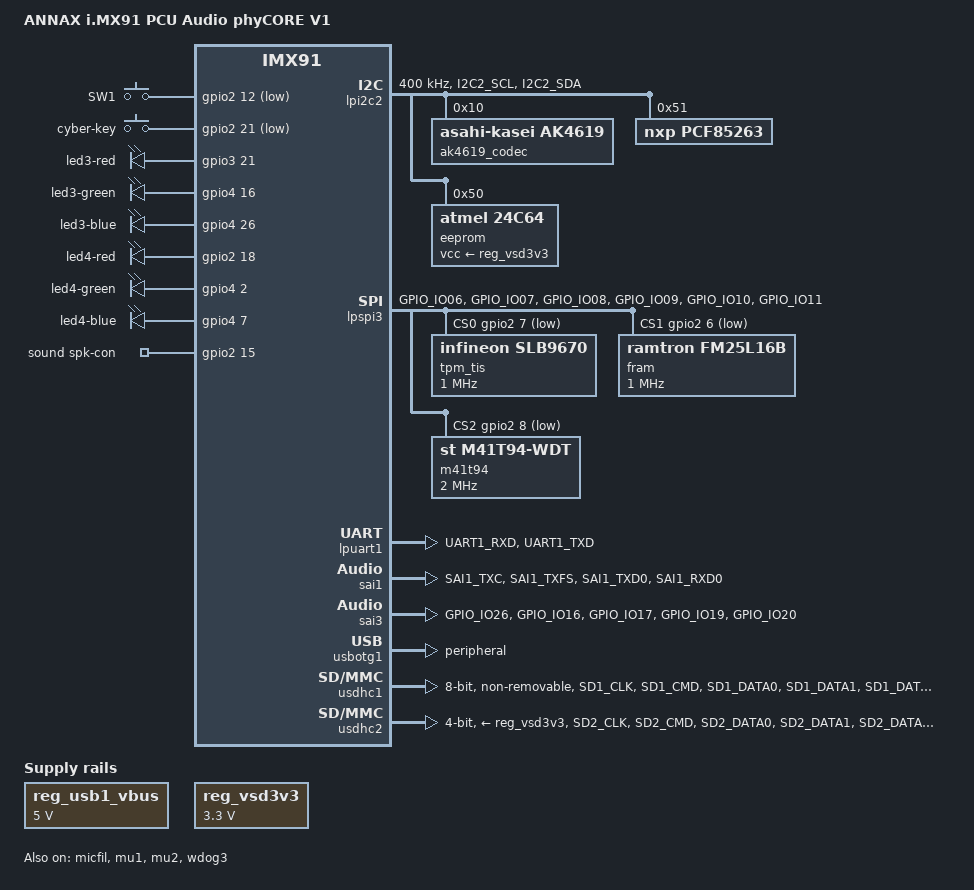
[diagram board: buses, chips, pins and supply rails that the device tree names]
// SPDX-License-Identifier: (GPL-2.0+ OR MIT)
/*
 * Copyright 2022 NXP
 */

/dts-v1/;

#include "imx91-phycore-som.dtsi"

&ele_fw2 {
	memory-region = <&ele_reserved>;
};

/ {
	model = "ANNAX i.MX91 PCU Audio phyCORE V1";
	compatible = "annax,imx91-pcu-ip-phytec", "phytec,imx91-phycore-som",
		     "fsl,imx91";

	chosen {
		stdout-path = &lpuart1;
	};

	keys {
		compatible = "gpio-keys";
		pinctrl-names = "default";
		pinctrl-0 = <&pinctrl_gpio_keys>;
		#address-cells = <1>;
		#size-cells = <0>;
		autorepeat;

		// GPIO_IO12 KEY_alarm
		key-1 {
			linux,code = <KEY_1>;
			label = "SW1";
			gpios = <&gpio2 12 GPIO_ACTIVE_LOW>;
			gpio-key,wakeup;
			debounce-interval = <20>;
		};
	};

	key-cyber {
		compatible = "gpio-keys";
		pinctrl-names = "default";
		pinctrl-0 = <&pinctrl_cyber_keys>;
		#address-cells = <1>;
		#size-cells = <0>;
		autorepeat;

		key-cyber {
			linux,code = <KEY_C>;
			label = "cyber-key";
			gpios = <&gpio2 21 GPIO_ACTIVE_LOW>;
			gpio-key,wakeup;
			debounce-interval = <20>;
		};
	};

	reg_usb1_vbus: regulator-usb1-vbus {
		compatible = "regulator-fixed";
		regulator-name = "USB1_VBUS";
		regulator-min-microvolt = <5000000>;
		regulator-max-microvolt = <5000000>;
		regulator-always-on;
	};

	reg_vsd3v3: regulator-vsd3v3 {
		compatible = "regulator-fixed";
		regulator-name = "VSD_3V3";
		regulator-min-microvolt = <3300000>;
		regulator-max-microvolt = <3300000>;
		regulator-always-on;
	};

	leds {
		compatible = "gpio-leds";
		pinctrl-names = "default";
		pinctrl-0 = <&pinctrl_gpio_leds>;

		// heartbeat {
		// 	label = "heartbeat";
		// 	gpios = <&gpio2 4 GPIO_ACTIVE_LOW>;
		// 	linux,default-trigger = "heartbeat";
		// };

		led3-red {
			label = "led3-red";
			gpios = <&gpio3 21 GPIO_ACTIVE_HIGH>;
		};

		led3-green {
			label = "led3-green";
			gpios = <&gpio4 16 GPIO_ACTIVE_HIGH>;
		};

		led3-blue {
			label = "led3-blue";
			gpios = <&gpio4 26 GPIO_ACTIVE_HIGH>;
		};

		led4-red {
			label = "led4-red";
			gpios = <&gpio2 18 GPIO_ACTIVE_HIGH>;
		};

		led4-green {
			label = "led4-green";
			gpios = <&gpio4 2 GPIO_ACTIVE_HIGH>;
		};

		led4-blue {
			label = "led4-blue";
			gpios = <&gpio4 7 GPIO_ACTIVE_HIGH>;
		};
	};

	sound {
		compatible = "fsl,imx-audio-ak4619";
		model = "ak4619-audio";
		pinctrl-names = "default";
		pinctrl-0 = <&pinctrl_amp_en>;
		audio-cpu = <&sai3>;
		audio-codec = <&ak4619_codec>;
		spk-con-gpio = <&gpio2 15 GPIO_ACTIVE_HIGH>;
		audio-routing =
			"Ext Spk", "AOUT1L",
			"Ext Spk", "AOUT1R";
	};

	sound-micfil {
		compatible = "fsl,imx-audio-card";
		model = "micfil-audio";

		pri-dai-link {
			link-name = "micfil hifi";
			format = "i2s";

			cpu {
				sound-dai = <&micfil>;
			};
		};
	};
};

/* Ethernet */
&ethphy1 {
	ti,leds-polarity = <0>;
};

&lpi2c2 {
	clock-frequency = <400000>;
	pinctrl-names = "default", "sleep";
	pinctrl-0 = <&pinctrl_lpi2c2>;
	pinctrl-1 = <&pinctrl_lpi2c2>;
	status = "okay";

	ak4619_codec: ak4619-codec@10 {
		compatible = "asahi-kasei,ak4619";
		reg = <0x10>;
		clocks = <&clk IMX91_CLK_SAI3_GATE>;
		clock-names = "mclk";
		#sound-dai-cells = <0>;
	};

	pcf85263@51 {
		compatible = "nxp,pcf85263";
		reg = <0x51>;
	};

	eeprom@50 {
		compatible = "atmel,24c64";
		reg = <0x50>;
		pagesize = <16>;
		size = <8192>;
		vcc-supply = <&reg_vsd3v3>;
	};
};

/* lpspi3 work as a lpspi master bus */
&lpspi3 {
	num-cs = <3>;
	pinctrl-names = "default";
	pinctrl-0 = <&pinctrl_lpspi3>;
	cs-gpios = <&gpio2 7 GPIO_ACTIVE_LOW>, <&gpio2 6 GPIO_ACTIVE_LOW>, <&gpio2 8 GPIO_ACTIVE_LOW>;
	status = "okay";

	tpm_tis: tpm@0 {
		compatible = "infineon,slb9670", "tcg,tpm_tis-spi";
		reg = <0>;
		spi-max-frequency = <1000000>;
	};

	fram@1 {
		compatible = "ramtron,fm25l16b", "atmel,at25";
		reg = <1>;
		spi-max-frequency = <1000000>;
		size = <2048>;
		pagesize = <2048>;
		address-width = <16>;
	};

	m41t94: rtc@2 {
		compatible = "st,m41t94-wdt";
		reg = <2>;
		spi-max-frequency = <2000000>;
		timeout-sec = <120>;
	};
};

&lpuart1 { /* console */
	pinctrl-names = "default";
	pinctrl-0 = <&pinctrl_uart1>;
	status = "okay";
};

&media_blk_ctrl {
	status = "disabled";
};

&micfil {
	#sound-dai-cells = <0>;
	pinctrl-names = "default", "sleep";
	pinctrl-0 = <&pinctrl_pdm>;
	pinctrl-1 = <&pinctrl_pdm_sleep>;
	assigned-clocks = <&clk IMX91_CLK_PDM>;
	assigned-clock-parents = <&clk IMX91_CLK_AUDIO_PLL>;
	assigned-clock-rates = <49152000>;
	status = "okay";
};

&mu1 {
	status = "okay";
};

&mu2 {
	status = "okay";
};

&sai1 {
	pinctrl-names = "default", "sleep";
	pinctrl-0 = <&pinctrl_sai1>;
	pinctrl-1 = <&pinctrl_sai1_sleep>;
	assigned-clocks = <&clk IMX91_CLK_SAI1>;
	assigned-clock-parents = <&clk IMX91_CLK_AUDIO_PLL>;
	assigned-clock-rates = <12288000>;
	fsl,sai-mclk-direction-output;
	status = "okay";
};

&sai3 {
	pinctrl-names = "default", "sleep";
	pinctrl-0 = <&pinctrl_sai3>;
	pinctrl-1 = <&pinctrl_sai3_sleep>;
	assigned-clocks = <&clk IMX91_CLK_SAI3>;
	assigned-clock-parents = <&clk IMX91_CLK_AUDIO_PLL>;
	assigned-clock-rates = <12288000>;
	fsl,sai-mclk-direction-output;
	status = "okay";
};

&usbotg1 {
	dr_mode = "peripheral";
	hnp-disable;
	srp-disable;
	adp-disable;
	disable-over-current;
	samsung,picophy-pre-emp-curr-control = <3>;
	samsung,picophy-dc-vol-level-adjust = <7>;
	status = "okay";
};

&usbphynop1 {
	vbus-supply = <&reg_usb1_vbus>;
};

&usbphynop2 {
	status = "disabled";
};

&usbotg2 {
	dr_mode = "otg";
	hnp-disable;
	srp-disable;
	adp-disable;
	usb-role-switch;
	disable-over-current;
	samsung,picophy-pre-emp-curr-control = <3>;
	samsung,picophy-dc-vol-level-adjust = <7>;
	status = "disabled";
};

&usdhc1 {
	pinctrl-names = "default";
	pinctrl-0 = <&pinctrl_usdhc1>;
	bus-width = <8>;
	max-frequency = <26000000>;
	fsl,tuning-step = <1>;
	non-removable;
	no-1-8-v;
	status = "okay";
};

&usdhc2 {
	pinctrl-names = "default", "state_100mhz", "state_200mhz";
	pinctrl-0 = <&pinctrl_usdhc2>, <&pinctrl_usdhc2_cd>;
	pinctrl-1 = <&pinctrl_usdhc2_100mhz>, <&pinctrl_usdhc2_cd>;
	pinctrl-2 = <&pinctrl_usdhc2_200mhz>, <&pinctrl_usdhc2_cd>;
	cd-gpios = <&gpio3 0 GPIO_ACTIVE_LOW>;
	no-mmc;
	no-sdio;
	bus-width = <4>;
	vmmc-supply = <&reg_vsd3v3>;
	status = "okay";
};

&wdog3 {
	status = "okay";
};

&xcvr {
	pinctrl-names = "default", "sleep";
	pinctrl-0 = <&pinctrl_spdif>;
	pinctrl-1 = <&pinctrl_spdif_sleep>;
	assigned-clocks = <&clk IMX91_CLK_SPDIF>,
			 <&clk IMX91_CLK_AUDIO_XCVR>;
	assigned-clock-parents = <&clk IMX91_CLK_AUDIO_PLL>,
			 <&clk IMX91_CLK_SYS_PLL_PFD1_DIV2>;
	assigned-clock-rates = <12288000>, <200000000>;
	status = "disabled";
};

&iomuxc {
	pinctrl_gpio_leds: gpio-leds {
		fsl,pins = <
			MX91_PAD_GPIO_IO04__GPIO2_IO4		0x31e
			MX91_PAD_SD3_CMD__GPIO3_IO21		0x31e
			MX91_PAD_ENET2_TD3__GPIO4_IO16		0x31e
			MX91_PAD_ENET2_RD2__GPIO4_IO26		0x31e
			MX91_PAD_GPIO_IO18__GPIO2_IO18		0x31e
			MX91_PAD_ENET1_TD3__GPIO4_IO2		0x31e
		>;
	};
	pinctrl_amp_en: gpio-amp {
		fsl,pins = <
			MX91_PAD_GPIO_IO15__GPIO2_IO15		0x51e
		>;
	};
	pinctrl_gpio_keys: gpio-keys {
		fsl,pins = <
			MX91_PAD_GPIO_IO12__GPIO2_IO12		0x31e
		>;
	};

	pinctrl_cyber_keys: key-cyber {
		fsl,pins = <
			MX91_PAD_GPIO_IO21__GPIO2_IO21 0x31e
		>;
	};

	pinctrl_lpspi3: lpspi3grp {
		fsl,pins = <
			MX91_PAD_GPIO_IO06__GPIO2_IO6		0x3fe
			MX91_PAD_GPIO_IO07__GPIO2_IO7		0x3fe
			MX91_PAD_GPIO_IO08__GPIO2_IO8		0x3fe
			MX91_PAD_GPIO_IO09__LPSPI3_SIN		0x1fe
			MX91_PAD_GPIO_IO10__LPSPI3_SOUT		0x1fe
			MX91_PAD_GPIO_IO11__LPSPI3_SCK		0x1fe
		>;
	};

	pinctrl_uart1: uart1grp {
		fsl,pins = <
			MX91_PAD_UART1_RXD__LPUART1_RX			0x31e
			MX91_PAD_UART1_TXD__LPUART1_TX			0x31e
		>;
	};

	pinctrl_lpi2c2: lpi2c2grp {
		fsl,pins = <
			MX91_PAD_I2C2_SCL__LPI2C2_SCL			0x40000b9e
			MX91_PAD_I2C2_SDA__LPI2C2_SDA			0x40000b9e
		>;
	};

	pinctrl_pdm: pdmgrp {
		fsl,pins = <
			MX91_PAD_PDM_CLK__PDM_CLK			0x31e
			MX91_PAD_PDM_BIT_STREAM0__PDM_BIT_STREAM0	0x31e
			MX91_PAD_PDM_BIT_STREAM1__PDM_BIT_STREAM1	0x31e
		>;
	};

	pinctrl_pdm_sleep: pdmsleepgrp {
		fsl,pins = <
			MX91_PAD_PDM_CLK__GPIO1_IO8			0x31e
			MX91_PAD_PDM_BIT_STREAM0__GPIO1_IO9		0x31e
			MX91_PAD_PDM_BIT_STREAM1__GPIO1_IO10		0x31e
		>;
	};

	pinctrl_sai1: sai1grp {
		fsl,pins = <
			MX91_PAD_SAI1_TXC__SAI1_TX_BCLK			0x31e
			MX91_PAD_SAI1_TXFS__SAI1_TX_SYNC		0x31e
			MX91_PAD_SAI1_TXD0__SAI1_TX_DATA0		0x31e
			MX91_PAD_SAI1_RXD0__SAI1_RX_DATA0		0x31e
		>;
	};

	pinctrl_sai1_sleep: sai1sleepgrp {
		fsl,pins = <
			MX91_PAD_SAI1_TXC__GPIO1_IO12                   0x51e
			MX91_PAD_SAI1_TXFS__GPIO1_IO11			0x51e
			MX91_PAD_SAI1_TXD0__GPIO1_IO13			0x51e
			MX91_PAD_SAI1_RXD0__GPIO1_IO14			0x51e
		>;
	};

	/* need to config the SION for data and cmd pad, refer to ERR052021 */
	pinctrl_usdhc1: usdhc1grp {
		fsl,pins = <
			MX91_PAD_SD1_CLK__USDHC1_CLK		0x1582
			MX91_PAD_SD1_CMD__USDHC1_CMD		0x40001382
			MX91_PAD_SD1_DATA0__USDHC1_DATA0	0x40001382
			MX91_PAD_SD1_DATA1__USDHC1_DATA1	0x40001382
			MX91_PAD_SD1_DATA2__USDHC1_DATA2	0x40001382
			MX91_PAD_SD1_DATA3__USDHC1_DATA3	0x40001382
			MX91_PAD_SD1_DATA4__USDHC1_DATA4	0x40001382
			MX91_PAD_SD1_DATA5__USDHC1_DATA5	0x40001382
			MX91_PAD_SD1_DATA6__USDHC1_DATA6	0x40001382
			MX91_PAD_SD1_DATA7__USDHC1_DATA7	0x40001382
			MX91_PAD_SD1_STROBE__USDHC1_STROBE	0x1582
		>;
	};

	pinctrl_spdif: spdifgrp {
		fsl,pins = <
			MX91_PAD_GPIO_IO22__SPDIF_IN		0x3fe
			MX91_PAD_GPIO_IO23__SPDIF_OUT		0x3fe
		>;
	};

	pinctrl_spdif_sleep: spdifsleepgrp {
		fsl,pins = <
			MX91_PAD_GPIO_IO22__GPIO2_IO22		0x31e
			MX91_PAD_GPIO_IO23__GPIO2_IO23		0x31e
		>;
	};

	pinctrl_usdhc2_cd: usdhc2cdgrp {
		fsl,pins = <
			MX91_PAD_SD2_CD_B__GPIO3_IO0		0x31e
		>;
	};

	pinctrl_usdhc2: usdhc2grp {
		fsl,pins = <
			MX91_PAD_SD2_CLK__USDHC2_CLK		0x179e
			MX91_PAD_SD2_CMD__USDHC2_CMD		0x139e
			MX91_PAD_SD2_DATA0__USDHC2_DATA0	0x138e
			MX91_PAD_SD2_DATA1__USDHC2_DATA1	0x138e
			MX91_PAD_SD2_DATA2__USDHC2_DATA2	0x138e
			MX91_PAD_SD2_DATA3__USDHC2_DATA3	0x139e
			MX91_PAD_SD2_VSELECT__USDHC2_VSELECT	0x51e
		>;
	};

	pinctrl_usdhc2_100mhz: usdhc2-100mhzgrp {
		fsl,pins = <
			MX91_PAD_SD2_CLK__USDHC2_CLK		0x179e
			MX91_PAD_SD2_CMD__USDHC2_CMD		0x139e
			MX91_PAD_SD2_DATA0__USDHC2_DATA0	0x138e
			MX91_PAD_SD2_DATA1__USDHC2_DATA1	0x138e
			MX91_PAD_SD2_DATA2__USDHC2_DATA2	0x139e
			MX91_PAD_SD2_DATA3__USDHC2_DATA3	0x139e
			MX91_PAD_SD2_VSELECT__USDHC2_VSELECT	0x51e
		>;
	};

	pinctrl_usdhc2_200mhz: usdhc2-200mhzgrp {
		fsl,pins = <
			MX91_PAD_SD2_CLK__USDHC2_CLK		0x178e
			MX91_PAD_SD2_CMD__USDHC2_CMD		0x139e
			MX91_PAD_SD2_DATA0__USDHC2_DATA0	0x139e
			MX91_PAD_SD2_DATA1__USDHC2_DATA1	0x139e
			MX91_PAD_SD2_DATA2__USDHC2_DATA2	0x139e
			MX91_PAD_SD2_DATA3__USDHC2_DATA3	0x139e
			MX91_PAD_SD2_VSELECT__USDHC2_VSELECT	0x51e
		>;
	};

	pinctrl_sai3: sai3grp {
		fsl,pins = <
			MX91_PAD_GPIO_IO26__SAI3_TX_SYNC		0x31e
			MX91_PAD_GPIO_IO16__SAI3_TX_BCLK		0x31e
			MX91_PAD_GPIO_IO17__SAI3_MCLK			0x31e
			MX91_PAD_GPIO_IO19__SAI3_TX_DATA0		0x31e
			MX91_PAD_GPIO_IO20__SAI3_RX_DATA0		0x31e
		>;
	};

	pinctrl_sai3_sleep: sai3grpsleep {
		fsl,pins = <
			MX91_PAD_GPIO_IO26__GPIO2_IO26			0x51e
			MX91_PAD_GPIO_IO16__GPIO2_IO16			0x51e
			MX91_PAD_GPIO_IO17__GPIO2_IO17			0x51e
			MX91_PAD_GPIO_IO19__GPIO2_IO19			0x51e
			MX91_PAD_GPIO_IO20__GPIO2_IO20			0x51e
		>;
	};
};
